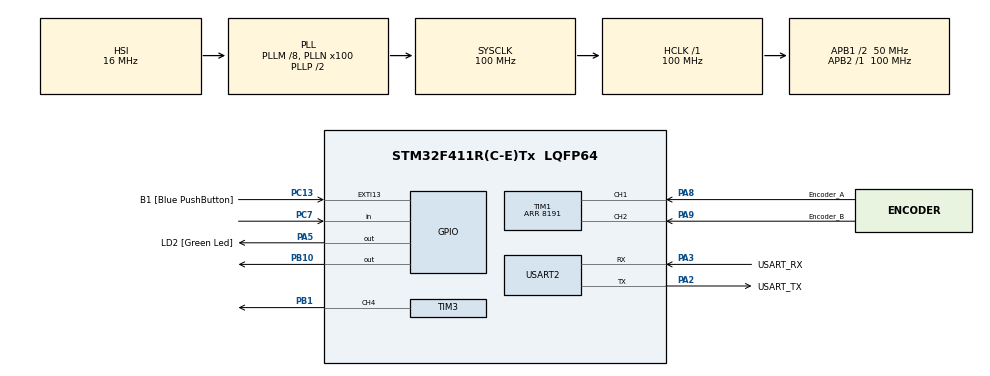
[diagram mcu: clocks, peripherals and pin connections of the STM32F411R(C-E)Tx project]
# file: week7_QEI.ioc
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Mcu.Family=STM32F4
RCC.CortexFreq_Value=100000000
PA14.GPIO_Label=TCK
TIM1.EncoderMode=TIM_ENCODERMODE_TI12
TIM3.Channel-PWM\ Generation4\ CH4=TIM_CHANNEL_4
RCC.SYSCLKSource=RCC_SYSCLKSOURCE_PLLCLK
ProjectManager.StackSize=0x400
PH0\ -\ OSC_IN.Signal=RCC_OSC_IN
RCC.HCLKFreq_Value=100000000
RCC.APB2TimFreq_Value=100000000
TIM3.Period=10000
PC7.Signal=GPIO_Input
RCC.AHBFreq_Value=100000000
RCC.HSE_VALUE=8000000
PC13-ANTI_TAMP.Signal=GPXTI13
PC14-OSC32_IN.Mode=LSE-External-Oscillator
PA14.Mode=Serial_Wire
TIM3.Prescaler=0
NVIC.TIM2_IRQn=true\:0\:0\:false\:false\:true\:true\:true
PA8.Signal=S_TIM1_CH1
RCC.FLatency-AdvancedSettings=FLASH_LATENCY_3
Mcu.Package=LQFP64
TIM2.Prescaler=99
PB1.Signal=S_TIM3_CH4
USART2.VirtualMode=VM_ASYNC
PA2.GPIO_Label=USART_TX
RCC.APB1TimFreq_Value=100000000
TIM1.Period=8191
VP_TIM3_VS_ClockSourceINT.Mode=Internal
PA3.Signal=USART2_RX
PB3.GPIO_Label=SWO
PC15-OSC32_OUT.Mode=LSE-External-Oscillator
PC13-ANTI_TAMP.GPIO_Label=B1 [Blue PushButton]
PA9.GPIO_Label=Encoder_B
PH1\ -\ OSC_OUT.Mode=HSE-External-Clock-Source
RCC.APB1CLKDivider=RCC_HCLK_DIV2
PC14-OSC32_IN.Signal=RCC_OSC32_IN
PA13.Signal=SYS_JTMS-SWDIO
PA3.Mode=Asynchronous
PH0\ -\ OSC_IN.Mode=HSE-External-Clock-Source
PA8.GPIO_Label=Encoder_A
SH.S_TIM1_CH1.0=TIM1_CH1,Encoder_Interface
ProjectManager.TargetToolchain=STM32CubeIDE
PA9.Signal=S_TIM1_CH2
PC15-OSC32_OUT.Signal=RCC_OSC32_OUT
PB10.Signal=GPIO_Output
PA5.Signal=GPIO_Output
PH1\ -\ OSC_OUT.Signal=RCC_OSC_OUT
board=NUCLEO-F411RE
RCC.VCOOutputFreq_Value=200000000
RCC.APB2Freq_Value=100000000
SH.S_TIM1_CH2.0=TIM1_CH2,Encoder_Interface
VP_TIM2_VS_ClockSourceINT.Mode=Internal
PA13.Mode=Serial_Wire
Mcu.Name=STM32F411R(C-E)Tx
PA13.GPIO_Label=TMS
PA2.Signal=USART2_TX
RCC.48MHZClocksFreq_Value=50000000
PB3.Signal=SYS_JTDO-SWO
RCC.SYSCLKFreq_VALUE=100000000
PA5.GPIO_Label=LD2 [Green Led]
PC13-ANTI_TAMP.GPIO_ModeDefaultEXTI=GPIO_MODE_IT_FALLING
PA14.Signal=SYS_JTCK-SWCLK
ProjectManager.HeapSize=0x200
RCC.HSI_VALUE=16000000
NVIC.PriorityGroup=NVIC_PRIORITYGROUP_0
RCC.PLLM=8
RCC.PLLN=100
PA2.Mode=Asynchronous
RCC.APB1Freq_Value=50000000
PA3.GPIO_Label=USART_RX
SH.S_TIM3_CH4.0=TIM3_CH4,PWM Generation4 CH4

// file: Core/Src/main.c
/* USER CODE BEGIN Header */
/**
 ******************************************************************************
 * @file           : main.c
 * @brief          : Main program body
 ******************************************************************************
 * @attention
 *
 * <h2><center>&copy; Copyright (c) 2021 STMicroelectronics.
 * All rights reserved.</center></h2>
 *
 * This software component is licensed by ST under BSD 3-Clause license,
 * the "License"; You may not use this file except in compliance with the
 * License. You may obtain a copy of the License at:
 *                        opensource.org/licenses/BSD-3-Clause
 *
 ******************************************************************************
 */
/* USER CODE END Header */
#include "main.h"

TIM_HandleTypeDef htim1;
TIM_HandleTypeDef htim2;
TIM_HandleTypeDef htim3;

UART_HandleTypeDef huart2;

/* USER CODE BEGIN PV */
uint64_t _micros = 0;
float EncoderVel = 0;  // pulse per sec
uint64_t TimeOutputLoop = 0;
float PulsePerRound = 8192;

//control
float Error = 0;
float WantedRPM = 0;
float Kp = 0;  //50
float Ki = 0;  //0.2
float Kd = 0;  //5
float OutputRPM = 0;
int16_t PWMOut = 0;
float Integral = 0;	   //sum of error
float Diff = 0;        //error difference
float Prev_Error = 0;  //last error

/* USER CODE END PV */

void SystemClock_Config(void);
static void MX_GPIO_Init(void);
static void MX_USART2_UART_Init(void);
static void MX_TIM1_Init(void);
static void MX_TIM2_Init(void);
static void MX_TIM3_Init(void);
/* USER CODE BEGIN PFP */
uint64_t micros();
float EncoderVelocity_Update();

/* USER CODE END PFP */

int main(void)
{

  /* MCU Configuration--------------------------------------------------------*/

  /* Reset of all peripherals, Initializes the Flash interface and the Systick. */
  HAL_Init();

  /* Configure the system clock */
  SystemClock_Config();

  /* Initialize all configured peripherals */
  MX_GPIO_Init();
  MX_USART2_UART_Init();
  MX_TIM1_Init();
  MX_TIM2_Init();
  MX_TIM3_Init();
  /* USER CODE BEGIN 2 */
	HAL_TIM_Base_Start_IT(&htim2);
	HAL_TIM_Encoder_Start(&htim1, TIM_CHANNEL_ALL);
	//Start TIM3
	HAL_TIM_Base_Start(&htim3);
	HAL_TIM_PWM_Start(&htim3, TIM_CHANNEL_4);  // start AIN1

  /* USER CODE END 2 */

  /* Infinite loop */
	while (1)
	{

    /* USER CODE BEGIN 3 */

	if (micros() - TimeOutputLoop >= 1000)//uS
		{

			TimeOutputLoop = micros();

			EncoderVel = (EncoderVel*99 + EncoderVelocity_Update()) / 100.0;
			OutputRPM = (EncoderVel*60)/PulsePerRound;

			Error = WantedRPM - OutputRPM;
			Integral = Integral + Error;
			Diff = Error - Prev_Error;
			Prev_Error = Error;

			PWMOut = (Kp*Error) + (Ki*Integral) + (Kd*Diff);
			Motor_Drive_PWM();

//   */

		}
//  */

	}
  /* USER CODE END 3 */
}

void SystemClock_Config(void)
{
  RCC_OscInitTypeDef RCC_OscInitStruct = {0};
  RCC_ClkInitTypeDef RCC_ClkInitStruct = {0};

  /** Configure the main internal regulator output voltage
  */
  __HAL_RCC_PWR_CLK_ENABLE();
  __HAL_PWR_VOLTAGESCALING_CONFIG(PWR_REGULATOR_VOLTAGE_SCALE1);
  /** Initializes the RCC Oscillators according to the specified parameters
  * in the RCC_OscInitTypeDef structure.
  */
  RCC_OscInitStruct.OscillatorType = RCC_OSCILLATORTYPE_HSI;
  RCC_OscInitStruct.HSIState = RCC_HSI_ON;
  RCC_OscInitStruct.HSICalibrationValue = RCC_HSICALIBRATION_DEFAULT;
  RCC_OscInitStruct.PLL.PLLState = RCC_PLL_ON;
  RCC_OscInitStruct.PLL.PLLSource = RCC_PLLSOURCE_HSI;
  RCC_OscInitStruct.PLL.PLLM = 8;
  RCC_OscInitStruct.PLL.PLLN = 100;
  RCC_OscInitStruct.PLL.PLLP = RCC_PLLP_DIV2;
  RCC_OscInitStruct.PLL.PLLQ = 4;
  if (HAL_RCC_OscConfig(&RCC_OscInitStruct) != HAL_OK)
  {
    Error_Handler();
  }
  /** Initializes the CPU, AHB and APB buses clocks
  */
  RCC_ClkInitStruct.ClockType = RCC_CLOCKTYPE_HCLK|RCC_CLOCKTYPE_SYSCLK
                              |RCC_CLOCKTYPE_PCLK1|RCC_CLOCKTYPE_PCLK2;
  RCC_ClkInitStruct.SYSCLKSource = RCC_SYSCLKSOURCE_PLLCLK;
  RCC_ClkInitStruct.AHBCLKDivider = RCC_SYSCLK_DIV1;
  RCC_ClkInitStruct.APB1CLKDivider = RCC_HCLK_DIV2;
  RCC_ClkInitStruct.APB2CLKDivider = RCC_HCLK_DIV1;

  if (HAL_RCC_ClockConfig(&RCC_ClkInitStruct, FLASH_LATENCY_3) != HAL_OK)
  {
    Error_Handler();
  }
}

static void MX_TIM1_Init(void)
{

  TIM_Encoder_InitTypeDef sConfig = {0};
  TIM_MasterConfigTypeDef sMasterConfig = {0};

  htim1.Instance = TIM1;
  htim1.Init.Prescaler = 0;
  htim1.Init.CounterMode = TIM_COUNTERMODE_UP;
  htim1.Init.Period = 8191;
  htim1.Init.ClockDivision = TIM_CLOCKDIVISION_DIV1;
  htim1.Init.RepetitionCounter = 0;
  htim1.Init.AutoReloadPreload = TIM_AUTORELOAD_PRELOAD_DISABLE;
  sConfig.EncoderMode = TIM_ENCODERMODE_TI12;
  sConfig.IC1Polarity = TIM_ICPOLARITY_RISING;
  sConfig.IC1Selection = TIM_ICSELECTION_DIRECTTI;
  sConfig.IC1Prescaler = TIM_ICPSC_DIV1;
  sConfig.IC1Filter = 0;
  sConfig.IC2Polarity = TIM_ICPOLARITY_RISING;
  sConfig.IC2Selection = TIM_ICSELECTION_DIRECTTI;
  sConfig.IC2Prescaler = TIM_ICPSC_DIV1;
  sConfig.IC2Filter = 0;
  if (HAL_TIM_Encoder_Init(&htim1, &sConfig) != HAL_OK)
  {
    Error_Handler();
  }
  sMasterConfig.MasterOutputTrigger = TIM_TRGO_RESET;
  sMasterConfig.MasterSlaveMode = TIM_MASTERSLAVEMODE_DISABLE;
  if (HAL_TIMEx_MasterConfigSynchronization(&htim1, &sMasterConfig) != HAL_OK)
  {
    Error_Handler();
  }

}

static void MX_TIM2_Init(void)
{

  TIM_ClockConfigTypeDef sClockSourceConfig = {0};
  TIM_MasterConfigTypeDef sMasterConfig = {0};

  htim2.Instance = TIM2;
  htim2.Init.Prescaler = 99;
  htim2.Init.CounterMode = TIM_COUNTERMODE_UP;
  htim2.Init.Period = 4294967295;
  htim2.Init.ClockDivision = TIM_CLOCKDIVISION_DIV1;
  htim2.Init.AutoReloadPreload = TIM_AUTORELOAD_PRELOAD_DISABLE;
  if (HAL_TIM_Base_Init(&htim2) != HAL_OK)
  {
    Error_Handler();
  }
  sClockSourceConfig.ClockSource = TIM_CLOCKSOURCE_INTERNAL;
  if (HAL_TIM_ConfigClockSource(&htim2, &sClockSourceConfig) != HAL_OK)
  {
    Error_Handler();
  }
  sMasterConfig.MasterOutputTrigger = TIM_TRGO_RESET;
  sMasterConfig.MasterSlaveMode = TIM_MASTERSLAVEMODE_DISABLE;
  if (HAL_TIMEx_MasterConfigSynchronization(&htim2, &sMasterConfig) != HAL_OK)
  {
    Error_Handler();
  }

}

static void MX_TIM3_Init(void)
{

  TIM_ClockConfigTypeDef sClockSourceConfig = {0};
  TIM_MasterConfigTypeDef sMasterConfig = {0};
  TIM_OC_InitTypeDef sConfigOC = {0};

  htim3.Instance = TIM3;
  htim3.Init.Prescaler = 0;
  htim3.Init.CounterMode = TIM_COUNTERMODE_UP;
  htim3.Init.Period = 10000;
  htim3.Init.ClockDivision = TIM_CLOCKDIVISION_DIV1;
  htim3.Init.AutoReloadPreload = TIM_AUTORELOAD_PRELOAD_DISABLE;
  if (HAL_TIM_Base_Init(&htim3) != HAL_OK)
  {
    Error_Handler();
  }
  sClockSourceConfig.ClockSource = TIM_CLOCKSOURCE_INTERNAL;
  if (HAL_TIM_ConfigClockSource(&htim3, &sClockSourceConfig) != HAL_OK)
  {
    Error_Handler();
  }
  if (HAL_TIM_PWM_Init(&htim3) != HAL_OK)
  {
    Error_Handler();
  }
  sMasterConfig.MasterOutputTrigger = TIM_TRGO_RESET;
  sMasterConfig.MasterSlaveMode = TIM_MASTERSLAVEMODE_DISABLE;
  if (HAL_TIMEx_MasterConfigSynchronization(&htim3, &sMasterConfig) != HAL_OK)
  {
    Error_Handler();
  }
  sConfigOC.OCMode = TIM_OCMODE_PWM1;
  sConfigOC.Pulse = 0;
  sConfigOC.OCPolarity = TIM_OCPOLARITY_HIGH;
  sConfigOC.OCFastMode = TIM_OCFAST_DISABLE;
  if (HAL_TIM_PWM_ConfigChannel(&htim3, &sConfigOC, TIM_CHANNEL_4) != HAL_OK)
  {
    Error_Handler();
  }
  HAL_TIM_MspPostInit(&htim3);

}

static void MX_USART2_UART_Init(void)
{

  huart2.Instance = USART2;
  huart2.Init.BaudRate = 115200;
  huart2.Init.WordLength = UART_WORDLENGTH_8B;
  huart2.Init.StopBits = UART_STOPBITS_1;
  huart2.Init.Parity = UART_PARITY_NONE;
  huart2.Init.Mode = UART_MODE_TX_RX;
  huart2.Init.HwFlowCtl = UART_HWCONTROL_NONE;
  huart2.Init.OverSampling = UART_OVERSAMPLING_16;
  if (HAL_UART_Init(&huart2) != HAL_OK)
  {
    Error_Handler();
  }

}

static void MX_GPIO_Init(void)
{
  GPIO_InitTypeDef GPIO_InitStruct = {0};

  /* GPIO Ports Clock Enable */
  __HAL_RCC_GPIOC_CLK_ENABLE();
  __HAL_RCC_GPIOH_CLK_ENABLE();
  __HAL_RCC_GPIOA_CLK_ENABLE();
  __HAL_RCC_GPIOB_CLK_ENABLE();

  /*Configure GPIO pin Output Level */
  HAL_GPIO_WritePin(LD2_GPIO_Port, LD2_Pin, GPIO_PIN_RESET);

  /*Configure GPIO pin Output Level */
  HAL_GPIO_WritePin(GPIOB, GPIO_PIN_10, GPIO_PIN_RESET);

  /*Configure GPIO pin : B1_Pin */
  GPIO_InitStruct.Pin = B1_Pin;
  GPIO_InitStruct.Mode = GPIO_MODE_IT_FALLING;
  GPIO_InitStruct.Pull = GPIO_NOPULL;
  HAL_GPIO_Init(B1_GPIO_Port, &GPIO_InitStruct);

  /*Configure GPIO pin : LD2_Pin */
  GPIO_InitStruct.Pin = LD2_Pin;
  GPIO_InitStruct.Mode = GPIO_MODE_OUTPUT_PP;
  GPIO_InitStruct.Pull = GPIO_NOPULL;
  GPIO_InitStruct.Speed = GPIO_SPEED_FREQ_LOW;
  HAL_GPIO_Init(LD2_GPIO_Port, &GPIO_InitStruct);

  /*Configure GPIO pin : PB10 */
  GPIO_InitStruct.Pin = GPIO_PIN_10;
  GPIO_InitStruct.Mode = GPIO_MODE_OUTPUT_PP;
  GPIO_InitStruct.Pull = GPIO_NOPULL;
  GPIO_InitStruct.Speed = GPIO_SPEED_FREQ_LOW;
  HAL_GPIO_Init(GPIOB, &GPIO_InitStruct);

  /*Configure GPIO pin : PC7 */
  GPIO_InitStruct.Pin = GPIO_PIN_7;
  GPIO_InitStruct.Mode = GPIO_MODE_INPUT;
  GPIO_InitStruct.Pull = GPIO_NOPULL;
  HAL_GPIO_Init(GPIOC, &GPIO_InitStruct);

}

/* USER CODE BEGIN 4 */
#define  HTIM_ENCODER htim1
#define  MAX_SUBPOSITION_OVERFLOW 4096
#define  MAX_ENCODER_PERIOD 8192

float EncoderVelocity_Update()
{
	//Save Last state
	static uint32_t EncoderLastPosition = 0;
	static uint64_t EncoderLastTimestamp = 0;

	//read data
	uint32_t EncoderNowPosition = HTIM_ENCODER.Instance->CNT;
	uint64_t EncoderNowTimestamp = micros();

	int32_t EncoderPositionDiff;
	uint64_t EncoderTimeDiff;

	EncoderTimeDiff = EncoderNowTimestamp - EncoderLastTimestamp;
	EncoderPositionDiff = EncoderNowPosition - EncoderLastPosition;

	//compensate overflow and underflow
	if (EncoderPositionDiff >= MAX_SUBPOSITION_OVERFLOW)
	{
		EncoderPositionDiff -= MAX_ENCODER_PERIOD;
	}
	else if (-EncoderPositionDiff >= MAX_SUBPOSITION_OVERFLOW)
	{
		EncoderPositionDiff += MAX_ENCODER_PERIOD;
	}

	//Update Position and time
	EncoderLastPosition = EncoderNowPosition;
	EncoderLastTimestamp = EncoderNowTimestamp;

	//Calculate velocity
	//EncoderTimeDiff is in uS
	return (EncoderPositionDiff * 1000000) / (float) EncoderTimeDiff;

}
#define PWM_CHANNEL TIM_CHANNEL_4
#define GPIO_PIN_DIRECTION GPIO_PIN_10
void Motor_Drive_PWM()
{
	if (PWM_Out < 0)
	{
		__HAL_TIM_SET_COMPARE(&htim3, PWM_CHANNEL, -PWMOut);
		HAL_GPIO_WritePin(GPIOB, GPIO_PIN_DIRECTION, GPIO_PIN_RESET);
	}

	else if (PWM_Out >= 0)
	{
		__HAL_TIM_SET_COMPARE(&htim3, PWM_CHANNEL, PWMOut);
		HAL_GPIO_WritePin(GPIOB, GPIO_PIN_DIRECTION, GPIO_PIN_SET);
	}
}
void HAL_TIM_PeriodElapsedCallback(TIM_HandleTypeDef *htim)
{
	if (htim == &htim2)
	{
		_micros += 4294967295;
	}
}
uint64_t micros()
{
	return _micros + htim2.Instance->CNT;
}
/* USER CODE END 4 */

void Error_Handler(void)
{
	__disable_irq();
	while (1)
	{
	}
}

/************************ (C) COPYRIGHT STMicroelectronics *****END OF FILE****/
